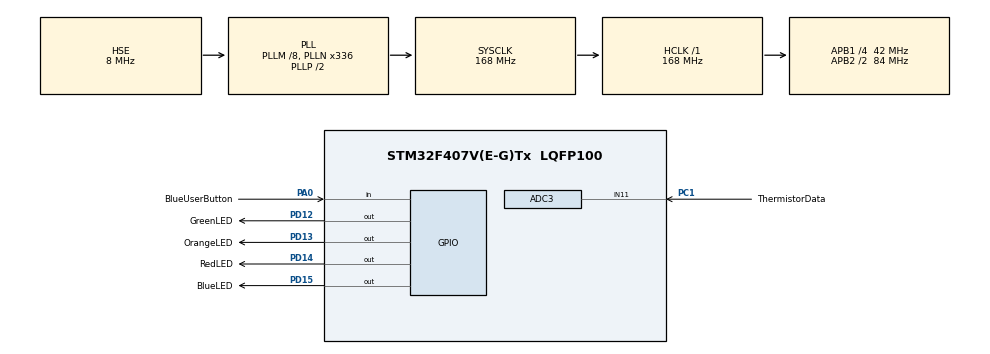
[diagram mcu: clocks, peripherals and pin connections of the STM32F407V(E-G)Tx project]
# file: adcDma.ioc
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ADC1.Channel-1\#ChannelRegularConversion=ADC_CHANNEL_TEMPSENSOR
ADC1.ContinuousConvMode=ENABLE
ADC1.DMAContinuousRequests=ENABLE
ADC1.NbrOfConversionFlag=1
ADC1.SamplingTime-1\#ChannelRegularConversion=ADC_SAMPLETIME_84CYCLES
ADC1.master=1
ADC3.Channel-1\#ChannelRegularConversion=ADC_CHANNEL_11
ADC3.ContinuousConvMode=ENABLE
ADC3.DMAContinuousRequests=ENABLE
ADC3.NbrOfConversionFlag=1
ADC3.Rank-1\#ChannelRegularConversion=1
ADC3.SamplingTime-1\#ChannelRegularConversion=ADC_SAMPLETIME_84CYCLES
Dma.ADC1.0.Direction=DMA_PERIPH_TO_MEMORY
Dma.ADC1.0.FIFOMode=DMA_FIFOMODE_DISABLE
Dma.ADC1.0.Instance=DMA2_Stream4
Dma.ADC1.0.MemDataAlignment=DMA_MDATAALIGN_HALFWORD
Dma.ADC1.0.MemInc=DMA_MINC_ENABLE
Dma.ADC1.0.Mode=DMA_CIRCULAR
Dma.ADC1.0.PeriphDataAlignment=DMA_PDATAALIGN_HALFWORD
Dma.ADC1.0.PeriphInc=DMA_PINC_DISABLE
Dma.ADC1.0.Priority=DMA_PRIORITY_LOW
Dma.ADC3.1.Direction=DMA_PERIPH_TO_MEMORY
Dma.ADC3.1.FIFOMode=DMA_FIFOMODE_DISABLE
Dma.ADC3.1.Instance=DMA2_Stream0
Dma.ADC3.1.MemDataAlignment=DMA_MDATAALIGN_HALFWORD
Dma.ADC3.1.MemInc=DMA_MINC_ENABLE
Dma.ADC3.1.Mode=DMA_CIRCULAR
Dma.ADC3.1.PeriphDataAlignment=DMA_PDATAALIGN_HALFWORD
Dma.ADC3.1.PeriphInc=DMA_PINC_DISABLE
Dma.ADC3.1.Priority=DMA_PRIORITY_LOW
Dma.Request0=ADC1
Dma.Request1=ADC3
Mcu.Family=STM32F4
Mcu.Name=STM32F407V(E-G)Tx
Mcu.Package=LQFP100
NVIC.DMA2_Stream0_IRQn=true\:0\:0\:false\:false\:true\:false\:true
NVIC.DMA2_Stream4_IRQn=true\:0\:0\:false\:false\:true\:false\:true
NVIC.PriorityGroup=NVIC_PRIORITYGROUP_4
PA0-WKUP.GPIO_Label=BlueUserButton
PA0-WKUP.Signal=GPIO_Input
PA13.Mode=Trace_Asynchronous_SW
PA13.Signal=SYS_JTMS-SWDIO
PA14.Mode=Trace_Asynchronous_SW
PA14.Signal=SYS_JTCK-SWCLK
PB3.Mode=Trace_Asynchronous_SW
PB3.Signal=SYS_JTDO-SWO
PC1.GPIO_Label=ThermistorData
PC1.Signal=ADCx_IN11
PD12.GPIO_Label=GreenLED
PD12.Signal=GPIO_Output
PD13.GPIO_Label=OrangeLED
PD13.Signal=GPIO_Output
PD14.GPIO_Label=RedLED
PD14.Signal=GPIO_Output
PD15.GPIO_Label=BlueLED
PD15.Signal=GPIO_Output
PH0-OSC_IN.Mode=HSE-External-Oscillator
PH0-OSC_IN.Signal=RCC_OSC_IN
PH1-OSC_OUT.Mode=HSE-External-Oscillator
PH1-OSC_OUT.Signal=RCC_OSC_OUT
ProjectManager.HeapSize=0x200
ProjectManager.StackSize=0x400
ProjectManager.TargetToolchain=STM32CubeIDE
RCC.48MHZClocksFreq_Value=48000000
RCC.AHBFreq_Value=168000000
RCC.APB1CLKDivider=RCC_HCLK_DIV4
RCC.APB1Freq_Value=42000000
RCC.APB1TimFreq_Value=84000000
RCC.APB2CLKDivider=RCC_HCLK_DIV2
RCC.APB2Freq_Value=84000000
RCC.APB2TimFreq_Value=168000000
RCC.CortexFreq_Value=168000000
RCC.HCLKFreq_Value=168000000
RCC.HSE_VALUE=8000000
RCC.HSI_VALUE=16000000
RCC.LSE_VALUE=32768
RCC.PLLM=8
RCC.PLLN=336
RCC.PLLQ=7
RCC.PLLSourceVirtual=RCC_PLLSOURCE_HSE
RCC.SYSCLKFreq_VALUE=168000000
RCC.SYSCLKSource=RCC_SYSCLKSOURCE_PLLCLK
RCC.VCOOutputFreq_Value=336000000
SH.ADCx_IN11.0=ADC3_IN11,IN11
VP_ADC1_TempSens_Input.Mode=IN-TempSens
VP_RNG_VS_RNG.Mode=RNG_Activate
board=custom

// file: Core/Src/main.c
/* USER CODE BEGIN Header */
/*
 ******************************************************************************
 * @file           : main.c
 * @brief          : Main program body
 ******************************************************************************
 * @attention
 *
 * <h2><center>&copy; Copyright (c) 2020 STMicroelectronics.
 * All rights reserved.</center></h2>
 *
 * This software component is licensed by ST under BSD 3-Clause license,
 * the "License"; You may not use this file except in compliance with the
 * License. You may obtain a copy of the License at:
 *                        opensource.org/licenses/BSD-3-Clause
 *
 ******************************************************************************
 * Author:	Kipling W. Dickie
 * Date:	10/06/2020
 *
 * ECET260 Lab05: adcDma
 *
 * Resources:
 * https://learn.adafruit.com/thermistor/using-a-thermistor
 * RM0090ReferenceManual.pdf
 * - DMA Controller	[P.302-314]
 * - Temperature Sensor [P.412-413]
 * STM32F407VGDatasheet.pdf
 * - Temperature Sensor Characteristics [P.138]
 *
 * Program Instructions:
 * - Configure ADC3 to read the thermistor. The thermistor needs to be read using DMA.
 * - Configure ADC1 to read the internal die temperature sensor. The internal die temperature needs to be read using DMA.
 * - Continuously read values of each into arrays of 100 samples and average them.
 * - Blink the orange LED at a 1/2 second rate.
 *
 * Hardware Specs:
 * - Thermistor Pin 1: Data Pin (PC1)
 * - Thermistor Pin 2: VCC
 * - Thermistor Pin 3: GND
 * - Thermistor Resistance @ Room Temp: ~100kohm
 * - Fixed Resistor Resistance: ~10kohm
 ******************************************************************************
 */
/* USER CODE END Header */
#include "main.h"
/* USER CODE BEGIN Includes */
#include <stdio.h>
#include <math.h>
/* USER CODE END Includes */

/* USER CODE BEGIN PD */
#define samples 100		// Initialize and set # of samples that will be averaged.
#define VCC 3			// Initialize and set Voltage Source Value (3V).
#define resolution 4095	// Analog to Digital 12-bit resolution [(2^12)-1] = 4095.
/* USER CODE END PD */

ADC_HandleTypeDef hadc1;
ADC_HandleTypeDef hadc3;
DMA_HandleTypeDef hdma_adc1;
DMA_HandleTypeDef hdma_adc3;

RNG_HandleTypeDef hrng;

/* USER CODE BEGIN PV */
uint16_t ADC1samples[samples];	// Initialize 16-Bit integer array: "ADC1sample[samples]". Internal Die Data. Set to 16-bit to match DMA data width.
uint16_t ADC3samples[samples];	// Initialize 16-Bit integer array: "ADC3sample[samples]". Thermistor Data. Set to 16-bit to match DMA data width.
uint8_t i;						// Initialize 8-Bit integer "i" for indexing.
/* USER CODE END PV */

void SystemClock_Config(void);
static void MX_GPIO_Init(void);
static void MX_DMA_Init(void);
static void MX_RNG_Init(void);
static void MX_ADC1_Init(void);
static void MX_ADC3_Init(void);

int main(void)
{

  /* MCU Configuration--------------------------------------------------------*/

  /* Reset of all peripherals, Initializes the Flash interface and the Systick. */
  HAL_Init();

  /* Configure the system clock */
  SystemClock_Config();

  /* Initialize all configured peripherals */
  MX_GPIO_Init();
  MX_DMA_Init();
  MX_RNG_Init();
  MX_ADC1_Init();
  MX_ADC3_Init();
  /* USER CODE BEGIN 2 */
  HAL_ADC_Start_DMA(&hadc1, ADC1samples, samples);	// Start ADC for address "&hadc1" and gets Internal Die data values to populate array "ADC1samples[samples]".
  HAL_ADC_Start_DMA(&hadc3, ADC3samples, samples);	// Start ADC for address "&hadc3" and gets Thermistor data value to populate array "ADC3samples[samples]".
  /* USER CODE END 2 */

  /* Infinite loop */
  /* USER CODE BEGIN WHILE */
  while (1)
  {
	HAL_GPIO_WritePin(OrangeLED_GPIO_Port, OrangeLED_Pin, GPIO_PIN_SET);	// OrangeLED ON
	HAL_Delay(250);	// Delay 250ms
	HAL_GPIO_WritePin(OrangeLED_GPIO_Port, OrangeLED_Pin, GPIO_PIN_RESET);	// OrangeLED OFF
	HAL_Delay(250);	// Delay 250ms

	// Average all the samples:
	float InternalDieData = 0;	// Initialize float "VInternalDie".
	float ThermistorData  = 0;	// Initialize float "VThermistor".
	for (i = 0; i < samples; i++) {
		InternalDieData += ADC1samples[i];	// Sum Internal Die data samples.
		ThermistorData  += ADC3samples[i];	// Sum Thermistor data samples.
	}
	InternalDieData /= samples;	// Average the Internal Die data samples.
	ThermistorData  /= samples;	// Average the Thermistor data samples.

	// Calculate Internal Die Temperature:
	float Avg_slope = 2.5;								// Average Slope (mV/degC)	[STM32F407VG_Datasheet.pdf P.138]
	float V_25 = 0.76;									// Voltage at 25 degC (V)	[STM32F407VG_Datasheet.pdf P.138]
	float Vsense = (VCC/resolution) * InternalDieData;	// Internal Die Voltage equivalent.

	float InternalDieTempC = ((Vsense-V_25)/Avg_slope) + 25;	// Internal Die Temperature in Celsius.
	float InternalDieTempK = InternalDieTempC + 273.15;			// Internal Die Temperature in Kelvin.
	float InternalDieTempF = ((9 / 5) * InternalDieTempC) + 32;	// Internal Die Temperature in Fahrenheit.

	// Print Results:
	printf("Internal Die Temperature Reading:\n");
	printf("%0.2f K\n", InternalDieTempK);	// Print Internal Die Temperature in Kelvin.
	printf("%0.2f C\n", InternalDieTempC);	// Print Internal Die Temperature in Celsius.
	printf("%0.2f F\n", InternalDieTempF);	// Print Internal Die Temperature in Fahrenheit.

	// Calculate Thermistor Temperature:
	float Rfixed = 10000;	// Fixed Resistor = 10kohm
	float RThermistor = (Rfixed * ThermistorData) / (resolution - ThermistorData); // Themistor Resistance Value.

	printf("Thermistor Resistance: %0.2f ohm\n", RThermistor);

	float RoomTempK = 298.15;	// Room Temperature = 298.15K
	int CoeffThermistor = 3950;	// Coefficient of Thermistor = 3950 [Datasheet]
	float RoomTempR = 100000;	// Thermistor Resistance @ Room Temperature = 100kohm

	float ThermistorTempK = 1/ (((log(RThermistor / RoomTempR)) / CoeffThermistor)+ (1.0 / RoomTempK));	// Thermistor Temperature in Kelvin.
	float ThermistorTempC = ThermistorTempK - 273.15;													// Thermistor Temperature in Celsius.
	float ThermistorTempF = (ThermistorTempC * (9 / 5)) + 32;											// Thermistor Temperature in Fahrenheit.

	// Print Results:
	printf("Thermistor Temperature Reading:\n");
	printf("%0.2f K\n", ThermistorTempK);	// Print Thermistor Temperature in Kelvin.
	printf("%0.2f C\n", ThermistorTempC);	// Print Thermistor Temperature in Celsius.
	printf("%0.2f F\n", ThermistorTempF);	// Print Thermistor Temperature in Fahrenheit.

    /* USER CODE END WHILE */

  }
}

void SystemClock_Config(void)
{
  RCC_OscInitTypeDef RCC_OscInitStruct = {0};
  RCC_ClkInitTypeDef RCC_ClkInitStruct = {0};

  /** Configure the main internal regulator output voltage
  */
  __HAL_RCC_PWR_CLK_ENABLE();
  __HAL_PWR_VOLTAGESCALING_CONFIG(PWR_REGULATOR_VOLTAGE_SCALE1);
  /** Initializes the RCC Oscillators according to the specified parameters
  * in the RCC_OscInitTypeDef structure.
  */
  RCC_OscInitStruct.OscillatorType = RCC_OSCILLATORTYPE_HSE;
  RCC_OscInitStruct.HSEState = RCC_HSE_ON;
  RCC_OscInitStruct.PLL.PLLState = RCC_PLL_ON;
  RCC_OscInitStruct.PLL.PLLSource = RCC_PLLSOURCE_HSE;
  RCC_OscInitStruct.PLL.PLLM = 8;
  RCC_OscInitStruct.PLL.PLLN = 336;
  RCC_OscInitStruct.PLL.PLLP = RCC_PLLP_DIV2;
  RCC_OscInitStruct.PLL.PLLQ = 7;
  if (HAL_RCC_OscConfig(&RCC_OscInitStruct) != HAL_OK)
  {
    Error_Handler();
  }
  /** Initializes the CPU, AHB and APB buses clocks
  */
  RCC_ClkInitStruct.ClockType = RCC_CLOCKTYPE_HCLK|RCC_CLOCKTYPE_SYSCLK|RCC_CLOCKTYPE_PCLK1|RCC_CLOCKTYPE_PCLK2;
  RCC_ClkInitStruct.SYSCLKSource = RCC_SYSCLKSOURCE_PLLCLK;
  RCC_ClkInitStruct.AHBCLKDivider = RCC_SYSCLK_DIV1;
  RCC_ClkInitStruct.APB1CLKDivider = RCC_HCLK_DIV4;
  RCC_ClkInitStruct.APB2CLKDivider = RCC_HCLK_DIV2;

  if (HAL_RCC_ClockConfig(&RCC_ClkInitStruct, FLASH_LATENCY_5) != HAL_OK)
  {
    Error_Handler();
  }
}

static void MX_ADC1_Init(void)
{

  ADC_ChannelConfTypeDef sConfig = {0};

  /** Configure the global features of the ADC (Clock, Resolution, Data Alignment and number of conversion)
  */
  hadc1.Instance = ADC1;
  hadc1.Init.ClockPrescaler = ADC_CLOCK_SYNC_PCLK_DIV4;
  hadc1.Init.Resolution = ADC_RESOLUTION_12B;
  hadc1.Init.ScanConvMode = DISABLE;
  hadc1.Init.ContinuousConvMode = ENABLE;
  hadc1.Init.DiscontinuousConvMode = DISABLE;
  hadc1.Init.ExternalTrigConvEdge = ADC_EXTERNALTRIGCONVEDGE_NONE;
  hadc1.Init.ExternalTrigConv = ADC_SOFTWARE_START;
  hadc1.Init.DataAlign = ADC_DATAALIGN_RIGHT;
  hadc1.Init.NbrOfConversion = 1;
  hadc1.Init.DMAContinuousRequests = ENABLE;
  hadc1.Init.EOCSelection = ADC_EOC_SINGLE_CONV;
  if (HAL_ADC_Init(&hadc1) != HAL_OK)
  {
    Error_Handler();
  }
  /** Configure for the selected ADC regular channel its corresponding rank in the sequencer and its sample time.
  */
  sConfig.Channel = ADC_CHANNEL_TEMPSENSOR;
  sConfig.Rank = 1;
  sConfig.SamplingTime = ADC_SAMPLETIME_84CYCLES;
  if (HAL_ADC_ConfigChannel(&hadc1, &sConfig) != HAL_OK)
  {
    Error_Handler();
  }

}

static void MX_ADC3_Init(void)
{

  ADC_ChannelConfTypeDef sConfig = {0};

  /** Configure the global features of the ADC (Clock, Resolution, Data Alignment and number of conversion)
  */
  hadc3.Instance = ADC3;
  hadc3.Init.ClockPrescaler = ADC_CLOCK_SYNC_PCLK_DIV4;
  hadc3.Init.Resolution = ADC_RESOLUTION_12B;
  hadc3.Init.ScanConvMode = DISABLE;
  hadc3.Init.ContinuousConvMode = ENABLE;
  hadc3.Init.DiscontinuousConvMode = DISABLE;
  hadc3.Init.ExternalTrigConvEdge = ADC_EXTERNALTRIGCONVEDGE_NONE;
  hadc3.Init.ExternalTrigConv = ADC_SOFTWARE_START;
  hadc3.Init.DataAlign = ADC_DATAALIGN_RIGHT;
  hadc3.Init.NbrOfConversion = 1;
  hadc3.Init.DMAContinuousRequests = ENABLE;
  hadc3.Init.EOCSelection = ADC_EOC_SINGLE_CONV;
  if (HAL_ADC_Init(&hadc3) != HAL_OK)
  {
    Error_Handler();
  }
  /** Configure for the selected ADC regular channel its corresponding rank in the sequencer and its sample time.
  */
  sConfig.Channel = ADC_CHANNEL_11;
  sConfig.Rank = 1;
  sConfig.SamplingTime = ADC_SAMPLETIME_84CYCLES;
  if (HAL_ADC_ConfigChannel(&hadc3, &sConfig) != HAL_OK)
  {
    Error_Handler();
  }

}

static void MX_RNG_Init(void)
{

  hrng.Instance = RNG;
  if (HAL_RNG_Init(&hrng) != HAL_OK)
  {
    Error_Handler();
  }

}

static void MX_DMA_Init(void)
{

  /* DMA controller clock enable */
  __HAL_RCC_DMA2_CLK_ENABLE();

  /* DMA interrupt init */
  /* DMA2_Stream0_IRQn interrupt configuration */
  HAL_NVIC_SetPriority(DMA2_Stream0_IRQn, 0, 0);
  HAL_NVIC_EnableIRQ(DMA2_Stream0_IRQn);
  /* DMA2_Stream4_IRQn interrupt configuration */
  HAL_NVIC_SetPriority(DMA2_Stream4_IRQn, 0, 0);
  HAL_NVIC_EnableIRQ(DMA2_Stream4_IRQn);

}

static void MX_GPIO_Init(void)
{
  GPIO_InitTypeDef GPIO_InitStruct = {0};

  /* GPIO Ports Clock Enable */
  __HAL_RCC_GPIOH_CLK_ENABLE();
  __HAL_RCC_GPIOC_CLK_ENABLE();
  __HAL_RCC_GPIOA_CLK_ENABLE();
  __HAL_RCC_GPIOD_CLK_ENABLE();
  __HAL_RCC_GPIOB_CLK_ENABLE();

  /*Configure GPIO pin Output Level */
  HAL_GPIO_WritePin(GPIOD, GreenLED_Pin|OrangeLED_Pin|RedLED_Pin|BlueLED_Pin, GPIO_PIN_RESET);

  /*Configure GPIO pin : BlueUserButton_Pin */
  GPIO_InitStruct.Pin = BlueUserButton_Pin;
  GPIO_InitStruct.Mode = GPIO_MODE_INPUT;
  GPIO_InitStruct.Pull = GPIO_NOPULL;
  HAL_GPIO_Init(BlueUserButton_GPIO_Port, &GPIO_InitStruct);

  /*Configure GPIO pins : GreenLED_Pin OrangeLED_Pin RedLED_Pin BlueLED_Pin */
  GPIO_InitStruct.Pin = GreenLED_Pin|OrangeLED_Pin|RedLED_Pin|BlueLED_Pin;
  GPIO_InitStruct.Mode = GPIO_MODE_OUTPUT_PP;
  GPIO_InitStruct.Pull = GPIO_NOPULL;
  GPIO_InitStruct.Speed = GPIO_SPEED_FREQ_LOW;
  HAL_GPIO_Init(GPIOD, &GPIO_InitStruct);

}

/* USER CODE BEGIN 4 */
void HAL_ADC_ConvCpltCallback(ADC_HandleTypeDef* hadc){
	static int InternalDieCount = 0;
	if(hadc == &hadc1){ // if Internal Die Data:
		ADC1samples[InternalDieCount]= HAL_ADC_GetValue(hadc); // Populate ADC1samples[]
		InternalDieCount ++;
		InternalDieCount %= samples;
	}
	static int ThermistorCount = 0;
	if(hadc == &hadc3){ // if Thermistor Data:
		ADC3samples[ThermistorCount]= HAL_ADC_GetValue(hadc); // Populate ADC3samples[]
		ThermistorCount ++;
		ThermistorCount %= samples;
	}
}

int __io_putchar(int ch) {
	ITM_SendChar(ch);
	return 0;
}
/* USER CODE END 4 */

void Error_Handler(void)
{
}

/************************ (C) COPYRIGHT STMicroelectronics *****END OF FILE****/
